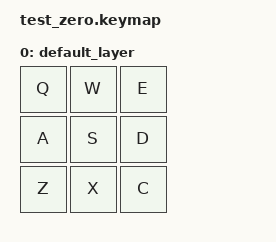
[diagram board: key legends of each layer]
/*
 * Copyright (c) 2022 Gleb Sabirzyanov
 *
 * SPDX-License-Identifier: MIT
 */

#include <behaviors.dtsi>
#include <dt-bindings/zmk/keys.h>

/ {
    keymap {
        compatible = "zmk,keymap";
        
        default_layer {
            bindings = <
                &kp Q     &kp W     &kp E    
				&kp A     &kp S     &kp D    
				&kp Z     &kp X     &kp C   
	    >;
        };
    };
};


